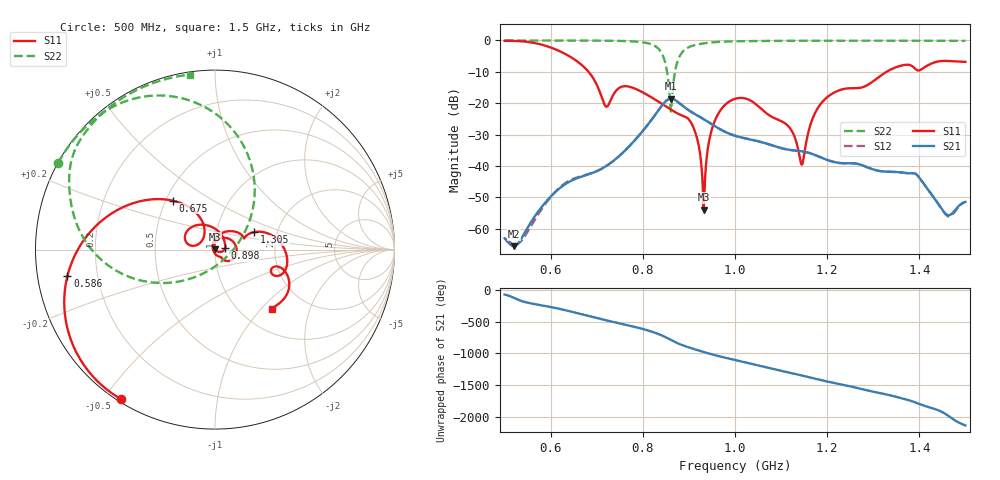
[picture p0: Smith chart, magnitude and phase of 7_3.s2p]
! TOUCHSTONE file generated by CST MICROWAVE STUDIO
! Date and time: Fri Oct 30 07:49:47 2020
! Project name: Scenario_1_Circular_Tissue_out_of_Line.cst
! Parameters = {dy1=-241.954; L_HA=400; MT=2.54; Rad_Dielectric=30; Rad_Lower=7.3; Rad_Upper=30; a_HA=580; a_WG=246; b_HA=500; b_WG=121; c_HA=0; c_WG=187; d_feed=85; dx1=520; h_feed=15; h_lower=18; h_upper=40}
! Header version: 2018
! Port assignment regex: !\s*Touchstone port\s*([0-9]+)\s*=\s*(CST MWS port|CST DS port)\s*([0-9]+|Zmin|Zmax)\s*\(\"(.*)\"\)(\s*mode\s*([0-9]+))?.*
! Touchstone port assignment:
! Touchstone port 1 = CST MWS port 1 ("")
! Touchstone port 2 = CST MWS port 2 ("")
# GHz S DB R 50
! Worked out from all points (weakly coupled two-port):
!   1001 points, 500 MHz to 1.5 GHz, reference 50 ohm
!   highest |S21| = -18.55 dB at 861 MHz (marker M1); lowest = -65.5 dB at 520 MHz (marker M2)
!   lowest |S11| = -53.9 dB at 932 MHz (marker M3), VSWR 1.00, Z = 50.2 + j0.0864 ohm
!   |S11| at or under -10 dB: 682.2 MHz to 1.329 GHz (646.8 MHz wide, 64.3 % of centre)
!   |S22| runs from -22.6 to 0.0 dB; largest |S21 - S12| = 0.0011
!   S11 on the Smith chart (normalised r, x): 500 MHz: 0.01, -0.55; 586 MHz: 0.09, -0.09; 675 MHz: 0.54, +0.34; 898 MHz: 1.12, +0.02; 1.305 GHz: 1.52, +0.31; 1.5 GHz: 1.38, -1.14
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0.5  -0.14 -122.3  -63.04 -74.0  -63.04 -74.1  -0.01 151.1
0.52  -0.15 -131.7  -65.54 -125.0  -64.89 -113.7  -0.01 149.8
0.586  -1.57 -169.9  -52.05 108.1  -52.57 111.2  -0.02 145.2
0.667  -7.77 136.6  -43.40 -25.4  -43.21 -27.8  -0.04 138.4
0.675  -8.85 130.9  -43.02 -40.2  -42.88 -41.8  -0.04 137.6
0.72  -21.05 141.6  -40.05 -119.1  -40.08 -118.0  -0.09 132.4
0.76  -14.59 150.0  -35.29 175.0  -35.26 174.4  -0.19 125.8
0.834  -19.51 81.4  -22.20 22.6  -22.22 22.5  -2.67 87.5
0.861  -22.04 54.4  -18.55 -71.2  -18.55 -71.3  -22.64 -47.7
0.898  -24.90 7.3  -22.09 176.3  -22.08 176.2  -2.28 171.2
0.918  -31.38 -29.2  -23.86 130.1  -23.85 129.9  -1.31 159.9
0.932  -53.86 25.1  -25.05 99.1  -25.05 99.1  -0.94 155.0
0.955  -26.05 79.6  -27.18 52.1  -27.18 52.1  -0.56 148.9
1  -18.60 11.0  -30.36 -26.2  -30.35 -26.3  -0.27 140.6
1.113  -26.93 -59.9  -34.72 141.8  -34.74 141.6  -0.12 128.8
1.144  -39.43 -151.2  -35.29 89.9  -35.31 89.9  -0.11 126.2
1.167  -25.45 93.8  -36.13 48.2  -36.13 48.1  -0.10 124.3
1.305  -12.45 24.1  -41.29 -174.5  -41.32 -174.6  -0.08 113.8
1.334  -9.58 13.2  -41.84 140.2  -41.83 140.4  -0.09 111.6
1.393  -9.27 -23.0  -42.60 17.6  -42.62 17.3  -0.10 107.0
1.462  -6.54 -36.5  -55.63 176.7  -56.01 175.4  -0.11 101.4
1.5  -6.82 -46.1  -51.44 20.3  -51.42 20.5  -0.13 98.1
